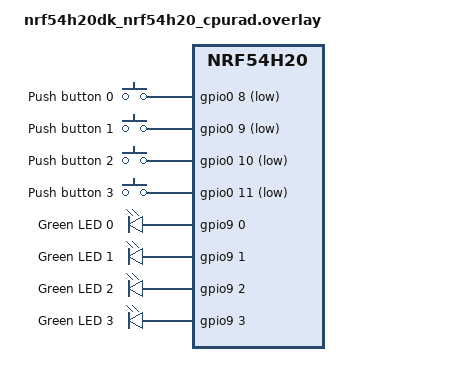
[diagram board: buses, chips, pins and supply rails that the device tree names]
/*
 * Copyright (c) 2024 Nordic Semiconductor ASA
 *
 * SPDX-License-Identifier: LicenseRef-Nordic-5-Clause
 */

/ {
	chosen {
		nordic,nus-uart = &uart135;
		zephyr,settings_partition = &cpurad_storage_partition;
	};

	/* LEDs and buttons definitions are required for the DK Buttons and
	 * LEDs module.
	 */

	aliases {
		led0 = &led0;
		led1 = &led1;
		led2 = &led2;
		led3 = &led3;

		sw0 = &button0;
		sw1 = &button1;
		sw2 = &button2;
		sw3 = &button3;
	};

	buttons {
		compatible = "gpio-keys";

		button0: button_0 {
			gpios = <&gpio0 8 (GPIO_PULL_UP | GPIO_ACTIVE_LOW)>;
			label = "Push button 0";
			zephyr,code = <INPUT_KEY_0>;
		};

		button1: button_1 {
			gpios = <&gpio0 9 (GPIO_PULL_UP | GPIO_ACTIVE_LOW)>;
			label = "Push button 1";
			zephyr,code = <INPUT_KEY_1>;
		};

		button2: button_2 {
			gpios = <&gpio0 10 (GPIO_PULL_UP | GPIO_ACTIVE_LOW)>;
			label = "Push button 2";
			zephyr,code = <INPUT_KEY_2>;
		};

		button3: button_3 {
			gpios = <&gpio0 11 (GPIO_PULL_UP | GPIO_ACTIVE_LOW)>;
			label = "Push button 3";
			zephyr,code = <INPUT_KEY_3>;
		};
	};

	leds {
		compatible = "gpio-leds";

		led0: led_0 {
			gpios = <&gpio9 0 GPIO_ACTIVE_HIGH>;
			label = "Green LED 0";
		};

		led1: led_1 {
			gpios = <&gpio9 1 GPIO_ACTIVE_HIGH>;
			label = "Green LED 1";
		};

		led2: led_2 {
			gpios = <&gpio9 2 GPIO_ACTIVE_HIGH>;
			label = "Green LED 2";
		};

		led3: led_3 {
			gpios = <&gpio9 3 GPIO_ACTIVE_HIGH>;
			label = "Green LED 3";
		};
	};
};

&gpio0 {
	status = "okay";
};

&gpio9 {
	status = "okay";
};

&gpiote130 {
	status = "okay";
	owned-channels = <4 5 6 7>;
};

/* Add a read write partition for the settings module.
 *
 * @note In case of running firmware on the application core, the same memory map
 * change must be applied to the application core DTS.
 */
&mram1x {
	partitions {
		/* Note: the location here has been kept the same as before the introduction of
		 * IronSide on nrf54h20, which has brought with it an updated memory map.
		 * It will likely need to be updated as the MRAM memory map is not yet final.
		 */
		cpurad_storage_partition: partition@1e3000 {
			reg = <0x1e3000 DT_SIZE_K(24)>;
		};
	};
};
